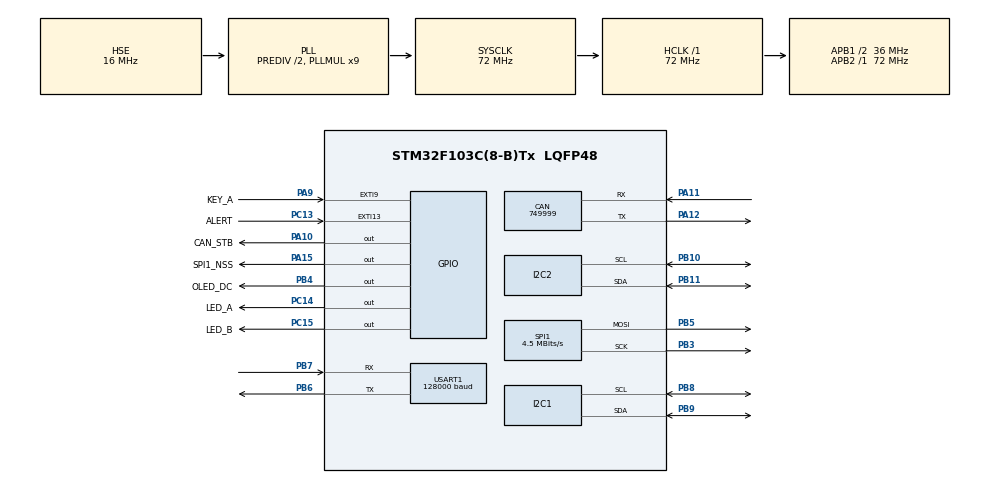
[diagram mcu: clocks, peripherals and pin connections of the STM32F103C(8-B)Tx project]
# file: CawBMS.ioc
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CAN.CalculateBaudRate=749999
CAN.CalculateTimeBit=1333
CAN.CalculateTimeQuantum=444.44444444444446
FREERTOS.Tasks01=bmsTask,0,128,StartBMSTask,Default,NULL,Dynamic,NULL,NULL;timerTask,0,128,StartTimerTask,Default,NULL,Dynamic,NULL,NULL;stateTask,0,128,StartStateTask,Default,NULL,Dynamic,NULL,NULL
Mcu.Family=STM32F1
Mcu.Name=STM32F103C(8-B)Tx
Mcu.Package=LQFP48
NVIC.EXTI15_10_IRQn=true\:5\:0\:false\:false\:true\:true\:true\:true\:true
NVIC.EXTI9_5_IRQn=true\:5\:0\:false\:false\:true\:true\:true\:true\:true
NVIC.PriorityGroup=NVIC_PRIORITYGROUP_4
NVIC.USART1_IRQn=true\:5\:0\:false\:false\:true\:true\:true\:true\:true
PA10.GPIO_Label=CAN_STB
PA10.PinState=GPIO_PIN_SET
PA10.Signal=GPIO_Output
PA11.Mode=CAN_Activate
PA11.Signal=CAN_RX
PA12.Mode=CAN_Activate
PA12.Signal=CAN_TX
PA13.Mode=Serial_Wire
PA13.Signal=SYS_JTMS-SWDIO
PA14.Mode=Serial_Wire
PA14.Signal=SYS_JTCK-SWCLK
PA15.GPIO_Label=SPI1_NSS
PA15.GPIO_Speed=GPIO_SPEED_FREQ_HIGH
PA15.PinState=GPIO_PIN_SET
PA15.Signal=GPIO_Output
PA9.GPIO_Label=KEY_A
PA9.GPIO_ModeDefaultEXTI=GPIO_MODE_IT_FALLING
PA9.Signal=GPXTI9
PB10.Mode=I2C
PB10.Signal=I2C2_SCL
PB11.Mode=I2C
PB11.Signal=I2C2_SDA
PB3.Mode=TX_Only_Simplex_Unidirect_Master
PB3.Signal=SPI1_SCK
PB4.GPIO_Label=OLED_DC
PB4.GPIO_Speed=GPIO_SPEED_FREQ_HIGH
PB4.PinState=GPIO_PIN_SET
PB4.Signal=GPIO_Output
PB5.Mode=TX_Only_Simplex_Unidirect_Master
PB5.Signal=SPI1_MOSI
PB6.Mode=Asynchronous
PB6.Signal=USART1_TX
PB7.Mode=Asynchronous
PB7.Signal=USART1_RX
PB8.GPIO_Speed=GPIO_SPEED_FREQ_HIGH
PB8.Mode=I2C
PB8.Signal=I2C1_SCL
PB9.GPIO_Speed=GPIO_SPEED_FREQ_HIGH
PB9.Mode=I2C
PB9.Signal=I2C1_SDA
PC13-TAMPER-RTC.GPIO_Label=ALERT
PC13-TAMPER-RTC.Signal=GPXTI13
PC14-OSC32_IN.GPIO_Label=LED_A
PC14-OSC32_IN.PinState=GPIO_PIN_SET
PC14-OSC32_IN.Signal=GPIO_Output
PC15-OSC32_OUT.GPIO_Label=LED_B
PC15-OSC32_OUT.PinState=GPIO_PIN_SET
PC15-OSC32_OUT.Signal=GPIO_Output
PD0-OSC_IN.Mode=HSE-External-Oscillator
PD0-OSC_IN.Signal=RCC_OSC_IN
PD1-OSC_OUT.Mode=HSE-External-Oscillator
PD1-OSC_OUT.Signal=RCC_OSC_OUT
ProjectManager.HeapSize=0x200
ProjectManager.StackSize=0x400
ProjectManager.TargetToolchain=Makefile
RCC.AHBFreq_Value=72000000
RCC.APB1CLKDivider=RCC_HCLK_DIV2
RCC.APB1Freq_Value=36000000
RCC.APB1TimFreq_Value=72000000
RCC.APB2Freq_Value=72000000
RCC.APB2TimFreq_Value=72000000
RCC.HCLKFreq_Value=72000000
RCC.HSEDivPLL=RCC_HSE_PREDIV_DIV2
RCC.HSE_VALUE=16000000
RCC.PLLMUL=RCC_PLL_MUL9
RCC.PLLSourceVirtual=RCC_PLLSOURCE_HSE
RCC.SYSCLKFreq_VALUE=72000000
RCC.SYSCLKSource=RCC_SYSCLKSOURCE_PLLCLK
RCC.USBFreq_Value=72000000
SPI1.BaudRatePrescaler=SPI_BAUDRATEPRESCALER_16
SPI1.CLKPolarity=SPI_POLARITY_LOW
SPI1.CalculateBaudRate=4.5 MBits/s
SPI1.Direction=SPI_DIRECTION_2LINES
SPI1.Mode=SPI_MODE_MASTER
SPI1.VirtualType=VM_MASTER
USART1.BaudRate=128000
USART1.VirtualMode=VM_ASYNC
VP_FREERTOS_VS_CMSIS_V1.Mode=CMSIS_V1
board=custom

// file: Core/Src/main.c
/* USER CODE BEGIN Header */
/**
 ******************************************************************************
 * @file           : main.c
 * @brief          : Main program body
 ******************************************************************************
 * @attention
 *
 * Copyright (c) 2023 STMicroelectronics.
 * All rights reserved.
 *
 * This software is licensed under terms that can be found in the LICENSE file
 * in the root directory of this software component.
 * If no LICENSE file comes with this software, it is provided AS-IS.
 *
 ******************************************************************************
 */
/* USER CODE END Header */
#include "main.h"
#include "cmsis_os.h"
#include "can.h"
#include "i2c.h"
#include "spi.h"
#include "usart.h"
#include "gpio.h"

/* USER CODE BEGIN Includes */
#include "i2c.h"
/* USER CODE END Includes */

void SystemClock_Config(void);
void MX_FREERTOS_Init(void);

int main(void)
{

  /* MCU Configuration--------------------------------------------------------*/

  /* Reset of all peripherals, Initializes the Flash interface and the Systick. */
  HAL_Init();

  /* Configure the system clock */
  SystemClock_Config();

  /* Initialize all configured peripherals */
  MX_GPIO_Init();
  MX_CAN_Init();
  MX_I2C1_Init();
  MX_USART1_UART_Init();
  MX_SPI1_Init();
  MX_I2C2_Init();

  /* Call init function for freertos objects (in freertos.c) */
  MX_FREERTOS_Init();

  /* Start scheduler */
  osKernelStart();

  /* We should never get here as control is now taken by the scheduler */
  /* Infinite loop */
  /* USER CODE BEGIN WHILE */

  while (1) {
    HAL_Delay(500);
    /* USER CODE END WHILE */

  }
}

void SystemClock_Config(void)
{
  RCC_OscInitTypeDef RCC_OscInitStruct = {0};
  RCC_ClkInitTypeDef RCC_ClkInitStruct = {0};

  /** Initializes the RCC Oscillators according to the specified parameters
  * in the RCC_OscInitTypeDef structure.
  */
  RCC_OscInitStruct.OscillatorType = RCC_OSCILLATORTYPE_HSE;
  RCC_OscInitStruct.HSEState = RCC_HSE_ON;
  RCC_OscInitStruct.HSEPredivValue = RCC_HSE_PREDIV_DIV2;
  RCC_OscInitStruct.HSIState = RCC_HSI_ON;
  RCC_OscInitStruct.PLL.PLLState = RCC_PLL_ON;
  RCC_OscInitStruct.PLL.PLLSource = RCC_PLLSOURCE_HSE;
  RCC_OscInitStruct.PLL.PLLMUL = RCC_PLL_MUL9;
  if (HAL_RCC_OscConfig(&RCC_OscInitStruct) != HAL_OK)
  {
    Error_Handler();
  }

  /** Initializes the CPU, AHB and APB buses clocks
  */
  RCC_ClkInitStruct.ClockType = RCC_CLOCKTYPE_HCLK|RCC_CLOCKTYPE_SYSCLK
                              |RCC_CLOCKTYPE_PCLK1|RCC_CLOCKTYPE_PCLK2;
  RCC_ClkInitStruct.SYSCLKSource = RCC_SYSCLKSOURCE_PLLCLK;
  RCC_ClkInitStruct.AHBCLKDivider = RCC_SYSCLK_DIV1;
  RCC_ClkInitStruct.APB1CLKDivider = RCC_HCLK_DIV2;
  RCC_ClkInitStruct.APB2CLKDivider = RCC_HCLK_DIV1;

  if (HAL_RCC_ClockConfig(&RCC_ClkInitStruct, FLASH_LATENCY_2) != HAL_OK)
  {
    Error_Handler();
  }
}

void Error_Handler(void)
{
  __disable_irq();
  while (1) {
  }
}

#ifdef  USE_FULL_ASSERT
/**
  * @brief  Reports the name of the source file and the source line number
  *         where the assert_param error has occurred.
  * @param  file: pointer to the source file name
  * @param  line: assert_param error line source number
  * @retval None
  */
void assert_failed(uint8_t *file, uint32_t line)
{
  /* USER CODE BEGIN 6 */
  /* User can add his own implementation to report the file name and line
     number, ex: printf("Wrong parameters value: file %s on line %d\r\n", file,
     line) */
  /* USER CODE END 6 */
}
#endif /* USE_FULL_ASSERT */

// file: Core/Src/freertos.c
/* USER CODE BEGIN Header */
/**
 ******************************************************************************
 * File Name          : freertos.c
 * Description        : Code for freertos applications
 ******************************************************************************
 * @attention
 *
 * Copyright (c) 2024 STMicroelectronics.
 * All rights reserved.
 *
 * This software is licensed under terms that can be found in the LICENSE file
 * in the root directory of this software component.
 * If no LICENSE file comes with this software, it is provided AS-IS.
 *
 ******************************************************************************
 */
/* USER CODE END Header */

#include "FreeRTOS.h"
#include "task.h"
#include "main.h"
#include "cmsis_os.h"

/* USER CODE BEGIN Includes */
#include "bms.h"
#include "bq76920.h"
#include "code.h"
#include "device.h"
#include "event.h"
#include "pingpong.h"
#include "usart.h"

/* USER CODE END Includes */

/* USER CODE BEGIN Variables */
device_t uart_device;
event_t event;
bq76920_t afe;
/* USER CODE END Variables */
osThreadId bmsTaskHandle;
osThreadId timerTaskHandle;
osThreadId stateTaskHandle;

/* USER CODE BEGIN FunctionPrototypes */
int reset_device();
/* USER CODE END FunctionPrototypes */

void StartBMSTask(void const * argument);
void StartTimerTask(void const * argument);
void StartStateTask(void const * argument);

void MX_FREERTOS_Init(void); /* (MISRA C 2004 rule 8.1) */

/* GetIdleTaskMemory prototype (linked to static allocation support) */
void vApplicationGetIdleTaskMemory( StaticTask_t **ppxIdleTaskTCBBuffer, StackType_t **ppxIdleTaskStackBuffer, uint32_t *pulIdleTaskStackSize );

/* USER CODE BEGIN GET_IDLE_TASK_MEMORY */
static StaticTask_t xIdleTaskTCBBuffer;
static StackType_t xIdleStack[configMINIMAL_STACK_SIZE];

void vApplicationGetIdleTaskMemory(StaticTask_t **ppxIdleTaskTCBBuffer,
                                   StackType_t **ppxIdleTaskStackBuffer,
                                   uint32_t *pulIdleTaskStackSize) {
  *ppxIdleTaskTCBBuffer = &xIdleTaskTCBBuffer;
  *ppxIdleTaskStackBuffer = &xIdleStack[0];
  *pulIdleTaskStackSize = configMINIMAL_STACK_SIZE;
  /* place for user code */
}
/* USER CODE END GET_IDLE_TASK_MEMORY */

void MX_FREERTOS_Init(void) {
  /* USER CODE BEGIN Init */
  device_init(&uart_device);
  device_set_id(&uart_device, 0x01, device_type_bms);
  event_init(&uart_device);
  event_register(main_code_system, sub_code_system_ping, pingpong_cb);
  event_run();
  bq76920_init(&afe, &hi2c1);
  /* USER CODE END Init */

  /* Create the thread(s) */
  /* definition and creation of bmsTask */
  osThreadDef(bmsTask, StartBMSTask, osPriorityNormal, 0, 128);
  bmsTaskHandle = osThreadCreate(osThread(bmsTask), NULL);

  /* definition and creation of timerTask */
  osThreadDef(timerTask, StartTimerTask, osPriorityNormal, 0, 128);
  timerTaskHandle = osThreadCreate(osThread(timerTask), NULL);

  /* definition and creation of stateTask */
  osThreadDef(stateTask, StartStateTask, osPriorityNormal, 0, 128);
  stateTaskHandle = osThreadCreate(osThread(stateTask), NULL);

}

void StartBMSTask(void const * argument)
{
  /* USER CODE BEGIN StartBMSTask */
  /* Infinite loop */
  for (;;) {
    bq76920_step(&afe);
    bq76920_update_balance_cell(&afe);

    bq76920_sys_ctrl2_t ctl2;
    bq76920_sys_ctrl2(&afe, &ctl2);

    bq76920_cellbal1_t cellbal;
    bq76920_cellbal1(&afe, &cellbal);

    protocol_bms_t bms;
    bq76920_sys_stat_byte(&afe, &(bms.state));
    for (int i = 0; i < 5; i++) {
      bms.cell_voltage[i] = afe.cell_voltage[i] * 100;
      bms.balance[i] = *(((uint8_t *)&cellbal) + i);
    }
    bms.voltage = afe.v_pack * 100;
    bms.current = afe.current / 1000.0 * 100;
    bms.temperature = afe.temperature * 100;
    bms.soc = 0;
    bms.soh = 0;
    bms.dsg = ctl2.DSG_ON;
    bms.chg = ctl2.CHG_ON;
    protocol_write_bms_info(&uart_device, &bms);
    osDelay(100);
  }
  /* USER CODE END StartBMSTask */
}

void StartTimerTask(void const * argument)
{
  /* USER CODE BEGIN StartTimerTask */
  /* Infinite loop */
  for (;;) {
    event_timer();
    osDelay(1000);
  }
  /* USER CODE END StartTimerTask */
}

void StartStateTask(void const * argument)
{
  /* USER CODE BEGIN StartStateTask */
  /* Infinite loop */
  for (;;) {
    HAL_GPIO_TogglePin(LED_A_GPIO_Port, LED_A_Pin);
    osDelay(500);
  }
  /* USER CODE END StartStateTask */
}
